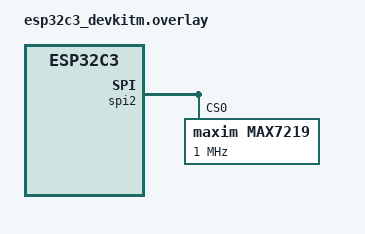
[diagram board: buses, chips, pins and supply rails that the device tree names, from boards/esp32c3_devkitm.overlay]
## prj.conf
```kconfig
CONFIG_SPI=y
CONFIG_DISPLAY=y
CONFIG_MAX7219=y
```

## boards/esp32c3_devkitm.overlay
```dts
&spim2_default {
    group1 {
        pinmux = <SPIM2_SCLK_GPIO1>,
                 <SPIM2_CSEL_GPIO2>,
                 <SPIM2_MOSI_GPIO3>;
    };
};

&spi2 {
    max7219: max7219@0 {
        compatible = "maxim,max7219";
        reg = <0>;
        spi-max-frequency = <1000000>;
        scan-limit = <7>;             
        intensity = <8>;              
        num-cascading = <1>;          
    };
};
```

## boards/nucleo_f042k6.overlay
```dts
&spi1 {
    status = "okay";
    pinctrl-0 = <&spi1_sck_pa5 &spi1_mosi_pa7>;
    pinctrl-names = "default";
    
   // cs-gpios = <&gpiob 6 (GPIO_ACTIVE_LOW | GPIO_PULL_UP)>;
    cs-gpios = <&gpioa 6 GPIO_ACTIVE_LOW>;

    max7219: max7219@0 {
        compatible = "maxim,max7219";
        reg = <0>;
        spi-max-frequency = <1000000>;
        scan-limit = <7>;             
        intensity = <8>;              
        num-cascading = <1>;          
    };
};
```

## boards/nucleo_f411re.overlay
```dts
&spi1 {
    status = "okay";
    pinctrl-0 = <&spi1_sck_pa5 &spi1_mosi_pa7>;
    pinctrl-names = "default";
    
   // cs-gpios = <&gpiob 6 (GPIO_ACTIVE_LOW | GPIO_PULL_UP)>;
    cs-gpios = <&gpiob 6 GPIO_ACTIVE_LOW>;

    max7219: max7219@0 {
        compatible = "maxim,max7219";
        reg = <0>;
        spi-max-frequency = <1000000>;
        scan-limit = <7>;             
        intensity = <8>;              
        num-cascading = <1>;          
    };
};
```

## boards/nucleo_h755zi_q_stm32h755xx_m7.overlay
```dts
&spi1 {
    status = "okay";
    pinctrl-0 = <&spi1_sck_pa5 &spi1_mosi_pb5>;
    pinctrl-names = "default";
    
   // cs-gpios = <&gpiob 6 (GPIO_ACTIVE_LOW | GPIO_PULL_UP)>;
    cs-gpios = <&gpiod 14 GPIO_ACTIVE_LOW>;

    max7219: max7219@0 {
        compatible = "maxim,max7219";
        reg = <0>;
        spi-max-frequency = <1000000>;
        scan-limit = <7>;             
        intensity = <8>;              
        num-cascading = <1>;          
    };
};
```

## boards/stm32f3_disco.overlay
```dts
&spi1 {
    status = "okay";
    pinctrl-0 = <&spi1_sck_pa5 &spi1_mosi_pa7>;
    pinctrl-names = "default";
    
    cs-gpios = <&gpioa 3 GPIO_ACTIVE_LOW>;

    max7219: max7219@0 {
        compatible = "maxim,max7219";
        reg = <0>;
        spi-max-frequency = <1000000>;
        scan-limit = <7>;             
        intensity = <8>;              
        num-cascading = <1>;          
    };
};
```

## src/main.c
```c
#include <zephyr/kernel.h>
#include <zephyr/drivers/display.h>

#define MAX7219_NODE DT_NODELABEL(max7219)

static const struct device *max7219_dev = DEVICE_DT_GET(MAX7219_NODE);

int main(void) {

    uint8_t data[] = {
        0b00000000,
        0b01101100,
        0b11111110,
        0b11111110,
        0b01111100,
        0b00111000,
        0b00010000,
        0b00000000
    };

    struct display_buffer_descriptor desc = {
        .buf_size = 64,   // maxtrix is 8x8 
        .width = 8,       // width is 8
        .height = 8,      // height is 8
        .pitch = 8,       // pixels per buffer string, equal width
    };

    display_write (
        max7219_dev, // device pointer
        0,           // x coordinate 
        0,           // y coordinate
        &desc,       // buffer descriptor
        data         // buffer
    );

    uint8_t brightness = 0;
    while(true) {
        display_set_brightness(max7219_dev, brightness);
        brightness++;
        k_msleep(4);
    }

    return 0;
}
```
